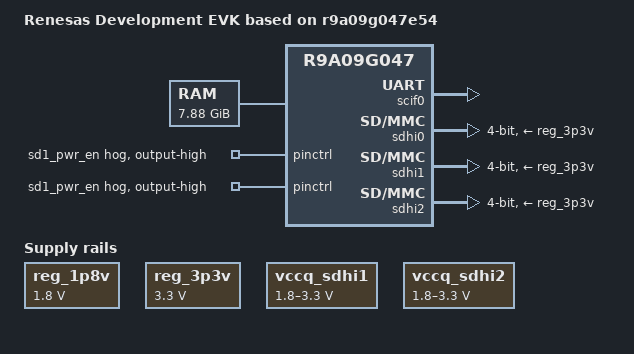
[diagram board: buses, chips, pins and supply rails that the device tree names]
// SPDX-License-Identifier: (GPL-2.0-only OR BSD-2-Clause)
/*
 * Device Tree Source for the RZ/G3E Development EVK board
 *
 * Copyright (C) 2023 Renesas Electronics Corp.
 */

/dts-v1/;
#include "r9a09g047.dtsi"
#include <dt-bindings/pinctrl/rzv2h-pinctrl.h>
#include "r9a09g047-u-boot.dtsi"
#include <dt-bindings/gpio/gpio.h>

/ {
	model = "Renesas Development EVK based on r9a09g047e54";
	compatible = "renesas,r9a09g047e54-dev", "renesas,r9a09g047e54", "renesas,r9a09g047";

	aliases {
		serial0 = &scif0;
		mmc0 = &sdhi0;
		mmc1 = &sdhi1;
		mmc2 = &sdhi2;
	};

        chosen {
                stdout-path = "serial0:115200n8";
        };

	memory@48000000 {
		device_type = "memory";
		/* first 128MB is reserved for secure area. */
		reg = <0x0 0x48000000 0x1 0xF8000000>;
	};

	reserved-memory {
		#address-cells = <2>;
		#size-cells = <2>;
		ranges;

		global_cma: linux,cma@58000000 {
			compatible = "shared-dma-pool";
			linux,cma-default;
			reusable;
			reg = <0x0 0x58000000 0x0 0x10000000>;
		};
	};

	reg_1p8v: regulator0 {
		compatible = "regulator-fixed";

		regulator-name = "fixed-1.8V";
		regulator-min-microvolt = <1800000>;
		regulator-max-microvolt = <1800000>;
		regulator-boot-on;
		regulator-always-on;
	};

	reg_3p3v: regulator1 {
		compatible = "regulator-fixed";

		regulator-name = "fixed-3.3V";
		regulator-min-microvolt = <3300000>;
		regulator-max-microvolt = <3300000>;
		regulator-boot-on;
		regulator-always-on;
	};

	vccq_sdhi1: regulator-vccq-sdhi1 {
		compatible = "regulator-gpio";

		regulator-name = "SDHI1 VccQ";
		regulator-min-microvolt = <1800000>;
		regulator-max-microvolt = <3300000>;

		//gpios = <&pinctrl RZV2H_GPIO(1, 5) GPIO_ACTIVE_HIGH>;

		gpios-states = <0>;
		states = <3300000 0 1800000 1>;
	};

	vccq_sdhi2: regulator-vccq-sdhi2 {
		compatible = "regulator-gpio";

		regulator-name = "SDHI2 VccQ";
		regulator-min-microvolt = <1800000>;
		regulator-max-microvolt = <3300000>;

		//gpios = <&pinctrl RZV2H_GPIO(K, 1) GPIO_ACTIVE_HIGH>;

		gpios-states = <0>;
		states = <3300000 0 1800000 1>;
	};
};

&pinctrl {
	sd1_pwr_en {
		gpio-hog;
		//gpios = <RZV2H_GPIO(1, 6) GPIO_ACTIVE_HIGH>;
		output-high;
		line-name = "sd1_pwr_en";
	};

	sd2_pwr_en {
		gpio-hog;
		//gpios = <RZV2H_GPIO(K, 2) GPIO_ACTIVE_HIGH>;
		output-high;
		line-name = "sd1_pwr_en";
	};

	sdhi0_pins: sd0 {
		sd0_mux {
			pinmux = <RZV2H_PINMUX(1, 0, 8)>; /* QSD0_CD */
		};
	};

	sdhi1_pins: sd1 {
		sd1_mux {
			pinmux = <RZV2H_PINMUX(1, 4, 8)>; /* QSD1_CD */
		};

		sd1_data {
			pinmux = <RZV2H_PINMUX(16, 2, 1)>, /* QSD1_DAT0 */
				 <RZV2H_PINMUX(16, 3, 1)>, /* QSD1_DAT1 */
				 <RZV2H_PINMUX(16, 4, 1)>, /* QSD1_DAT2 */
				 <RZV2H_PINMUX(16, 5, 1)>; /* QSD1_DAT3 */
		};

		sd1_ctrl {
			pinmux = <RZV2H_PINMUX(16, 0, 1)>, /* QSD2_CLK */
				 <RZV2H_PINMUX(16, 1, 1)>; /* QSD2_CMD */
		};
	};

        sdhi2_pins: sd2 {
                sd2_mux {
                        pinmux = <RZV2H_PINMUX(20, 0, 1)>; /* QSD2_CD */
                };

                sd2_data {
                        pinmux = <RZV2H_PINMUX(17, 2, 1)>, /* QSD2_DAT0 */
                                 <RZV2H_PINMUX(17, 3, 1)>, /* QSD2_DAT1 */
                                 <RZV2H_PINMUX(17, 4, 1)>, /* QSD2_DAT2 */
                                 <RZV2H_PINMUX(17, 5, 1)>; /* QSD2_DAT3 */
                };

                sd2_ctrl {
                        pinmux = <RZV2H_PINMUX(17, 0, 1)>, /* QSD2_CLK */
                                 <RZV2H_PINMUX(17, 1, 1)>; /* QSD2_CMD */
                };
        };
};

&extal_clk {
	clock-frequency = <24000000>;
};

&scif0 {

	status = "okay";
};

&sdhi0 {
	pinctrl-0 = <&sdhi0_pins>;
	pinctrl-names = "default";
	vmmc-supply = <&reg_3p3v>;
	vqmmc-supply = <&reg_3p3v>;

	bus-width = <4>;
	status = "okay";
};

&sdhi1 {
	pinctrl-0 = <&sdhi1_pins>;
	pinctrl-names = "default";
	vmmc-supply = <&reg_3p3v>;
	vqmmc-supply = <&vccq_sdhi1>;
	bus-width = <4>;
	sd-uhs-sdr50;
	sd-uhs-sdr104;
	status = "okay";
};

&sdhi2 {
	pinctrl-0 = <&sdhi2_pins>;
	pinctrl-names = "default";
	vmmc-supply = <&reg_3p3v>;
	vqmmc-supply = <&vccq_sdhi2>;
	bus-width = <4>;
	sd-uhs-sdr50;
	sd-uhs-sdr104;
	status = "okay";
};
